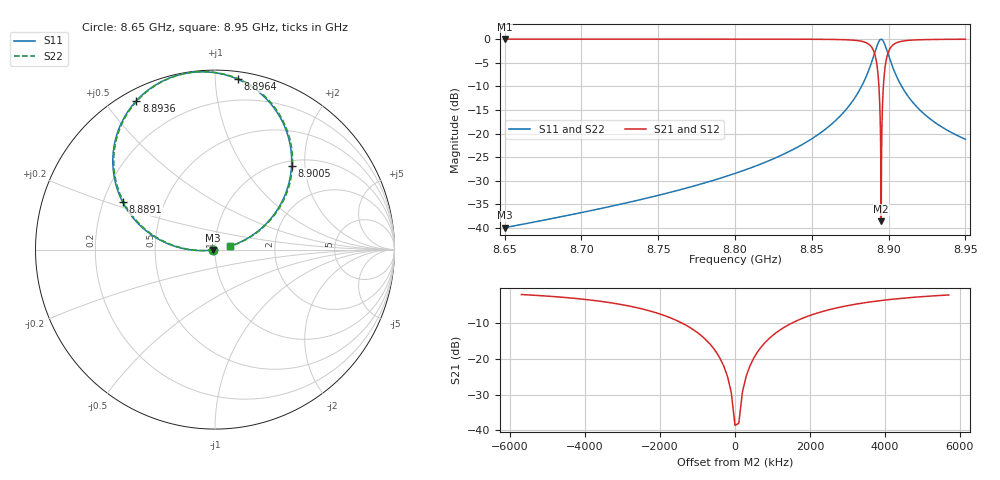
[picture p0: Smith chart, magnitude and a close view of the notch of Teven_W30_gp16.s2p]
! Sonnet Data File
! From: emgraph Version : 16.52
! From Project: transmon_trial
! Data is De-embedded
! Data File Written: 10/20/2017 09:13:07
!< HDATE 10/19/2017 20:03:37
!< MDATE 10/19/2017 20:10:25
!< PARAMS
!< Lj = 15.24
!< Gap = 16.0
!< Width = 30.0
!< Airgap = 18.0
!< Pwidth = 2000.0
!< END PARAMS
# GHZ S MA R 51.00000
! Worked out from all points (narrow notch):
!   3001 points, 8.65 GHz to 8.95 GHz, reference 51 ohm
!   highest |S21| = 0.00 dB at 8.65 GHz (marker M1); lowest = -38.6 dB at 8.8951 GHz (marker M2)
!   notch at M2: 38.6 dB deep, 954 kHz wide at half that depth
!   lowest |S11| = -39.9 dB at 8.65 GHz (marker M3), VSWR 1.02, Z = 50 - j0.17 ohm
!   |S11| at or under -10 dB: start of sweep to 8.8824 GHz; 8.908502 GHz to end of sweep
!   |S22| runs from -39.9 to 0.0 dB; largest |S21 - S12| = 0
!   S11 on the Smith chart (normalised r, x): 8.65 GHz: 0.98, -0.00; 8.8891 GHz: 0.28, +0.22; 8.8936 GHz: 0.04, +0.60; 8.8964 GHz: 0.05, +1.14; 8.9005 GHz: 1.09, +1.71; 8.95 GHz: 1.18, +0.05
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8.65  0.01008 -170.3  0.9999 -80.4  0.9999 -80.4  0.01008 -170.5
!< P1 F=8.65 Eeff=(6.44482017 -3.0292e-5) Z0=(50.6172123 1.12884e-4) R=0.0 C=0.0
!< P2 F=8.65 Eeff=(6.44482017 -3.0292e-5) Z0=(50.6172123 1.12884e-4) R=0.0 C=0.0
8.7  0.01455 -171.0  0.9999 -81.1  0.9999 -81.1  0.01455 -171.3
8.75  0.02215 -171.8  0.9997 -82.0  0.9997 -82.0  0.02215 -172.2
8.8  0.0378 -173.1  0.9993 -83.3  0.9993 -83.3  0.0378 -173.6
8.85  0.08799 -176.4  0.9961 -86.7  0.9961 -86.7  0.08799 -177.0
8.88  0.2686 172.7  0.9629 -97.5  0.9629 -97.5  0.2686 172.1
8.8856  0.408 164.1  0.9122 -106.1  0.9122 -106.1  0.408 163.5
8.8891  0.5785 152.8  0.814 -117.4  0.814 -117.4  0.5785 152.2
8.8921  0.815 133.3  0.5748 -136.6  0.5748 -136.6  0.815 132.7
8.8931  0.901 123.5  0.4262 -146.3  0.4262 -146.3  0.901 122.9
8.8936  0.9383 117.8  0.3352 -151.8  0.3352 -151.8  0.9383 117.2
8.8942  0.9731 110.5  0.2127 -158.7  0.2127 -158.7  0.9731 109.9
8.8951  0.9959 98.9  0.01174 -151.2  0.01174 -151.2  0.9959 98.3
8.8964  0.9575 82.2  0.2752 -8.9  0.2752 -8.9  0.9575 81.6
8.897  0.9173 75.3  0.3895 -15.6  0.3895 -15.6  0.9173 74.7
8.8976  0.8692 69.0  0.4882 -21.7  0.4882 -21.7  0.8692 68.4
8.9  0.6693 50.4  0.7406 -40.1  0.7406 -40.1  0.6693 49.8
8.9005  0.6331 47.7  0.772 -42.8  0.772 -42.8  0.6331 47.0
8.9048  0.4164 32.9  0.9084 -57.5  0.9084 -57.5  0.4164 32.2
8.9118  0.2597 23.2  0.9654 -67.2  0.9654 -67.2  0.2597 22.6
8.9276  0.1406 16.1  0.99 -74.3  0.99 -74.3  0.1406 15.4
8.95  0.08698 12.8  0.9962 -77.6  0.9962 -77.6  0.08698 12.1
